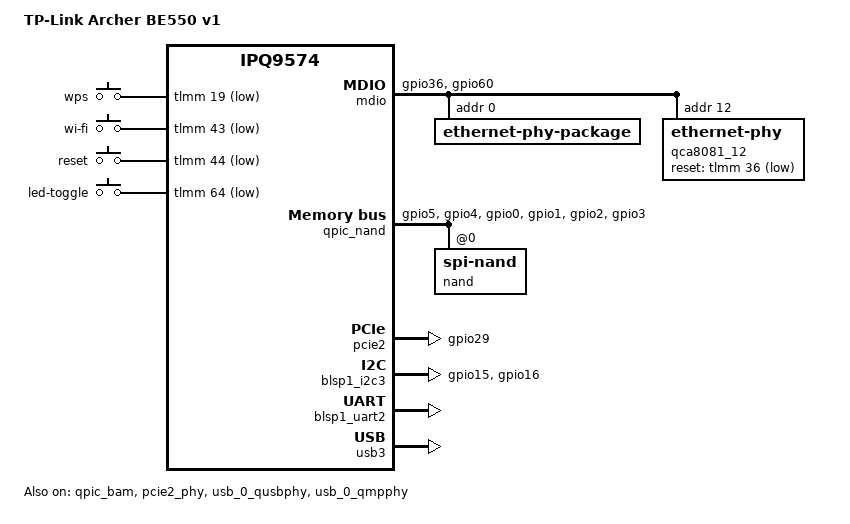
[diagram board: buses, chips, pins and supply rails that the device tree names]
// SPDX-License-Identifier: (GPL-2.0+)
/dts-v1/;

#include "ipq9574.dtsi"

#include <dt-bindings/gpio/gpio.h>
#include <dt-bindings/input/input.h>

/ {
	model = "TP-Link Archer BE550 v1";
	compatible = "tplink,archer-be550-v1", "qcom,ipq9574";

	aliases {
		serial0 = &blsp1_uart2;
	};

	chosen {
		stdout-path = "serial0:115200n8";
	};

	keys {
		compatible = "gpio-keys";
		pinctrl-0 = <&button_pins>;
		pinctrl-names = "default";

		wps {
			label = "wps";
			/* FIXME: when pressed, the GPIO level remains low. Is
			 * there another GPIO involved in the transaction? */
			gpios = <&tlmm 19 GPIO_ACTIVE_LOW>;
			linux,code = <KEY_WPS_BUTTON>;
		};

		wifi {
			label = "wi-fi";
			gpios = <&tlmm 43 GPIO_ACTIVE_LOW>;
			linux,code = <KEY_MACRO1>;
		};

		reset {
			label = "reset";
			gpios = <&tlmm 44 GPIO_ACTIVE_LOW>;
			linux,code = <KEY_RESTART>;
		};

		led-toggle {
			label = "led-toggle";
			gpios = <&tlmm 64 GPIO_ACTIVE_LOW>;
			linux,code = <KEY_LIGHTS_TOGGLE>;
		};
	};
};

&mdio {
	pinctrl-0 = <&mdio_pins>, <&phy_reset_pins>;
	pinctrl-names = "default";
	status = "okay";

	ethernet-phy-package@0 {
		#address-cells = <1>;
		#size-cells = <0>;
		reg = <0>;

		qcom,package-mode = "qusgmii";

		qca8084_0: ethernet-phy@0 {
			reg = <1>;
		};
		qca8084_1: ethernet-phy@1 {
			reg = <2>;
		};
		qca8084_2: ethernet-phy@2 {
			reg = <3>;
		};
		qca8084_3: ethernet-phy@3 {
			reg = <4>;
		};
	};

	qca8081_12: ethernet-phy@12 {
		reset-gpios = <&tlmm 36 GPIO_ACTIVE_LOW>;
		reg = <12>;
	};
};

&tlmm {

	button_pins: button-pins {
		pins = "gpio19", "gpio43", "gpio44", "gpio64";
		function = "gpio";
		input;
		bias-pull-up;
	};

	i2c3_pins: i2c3-pins {
		pins = "gpio15", "gpio16";
		function = "blsp3_i2c";
		drive-strength = <8>;
		bias-disable;
	};

	pcie2_pins: pcie2-pins {
		perst-n-pin {
			pins = "gpio29";
			function = "gpio";
			drive-strength = <8>;
			bias-disable;
			output-low;
		};
	};

	qspi_nand_pins: qspi_nand_pins {
		qspi_clock {
			pins = "gpio5";
			function = "qspi_clk";
			drive-strength = <8>;
			bias-disable;
		};

		qspi_cs {
			pins = "gpio4";
			function = "qspi_cs";
			drive-strength = <8>;
			bias-disable;
		};

		qspi_data {
			pins = "gpio0", "gpio1", "gpio2", "gpio3";
			function = "qspi_data";
			drive-strength = <8>;
			bias-disable;
		};
	};

	phy_reset_pins: phy-reset-pins {
		pins = "gpio36", "gpio60";
		function = "gpio";
		drive-strength = <2>;
		bias-disable;
	};
};

&qpic_bam {
	status = "okay";
};

&qpic_nand {
	pinctrl-0 = <&qspi_nand_pins>;
	pinctrl-names = "default";
	status = "okay";

	nand@0 {
		compatible = "spi-nand";
		reg = <0>;
		#address-cells = <1>;
		#size-cells = <1>;
		nand-ecc-engine = <&qpic_nand>;
		nand-ecc-strength = <4>;
		nand-ecc-step-size = <512>;

		partitions {
			compatible = "qcom,smem-part";
		};
	};
};

&rpm_requests {
	regulators {
		compatible = "qcom,rpm-mp5496-regulators";

		ipq9574_s1: s1 {
			regulator-min-microvolt = <725000>;
			regulator-max-microvolt = <1075000>;
		};
	};
};

&pcie2_phy {
	status = "okay";
};

&pcie2 {
	pinctrl-0 = <&pcie2_pins>;
	pinctrl-names = "default";
	perst-gpios = <&tlmm 29 GPIO_ACTIVE_LOW>;
	status = "okay";
};

&blsp1_i2c3 {
	pinctrl-0 = <&i2c3_pins>;
	pinctrl-names = "default";
	status = "okay";
};

&blsp1_uart2 {
	pinctrl-0 = <&uart2_pins>;
	pinctrl-names = "default";
	status = "okay";
};

&usb_0_qusbphy {
	status = "okay";
};

&usb_0_qmpphy{
	status = "okay";
};

&usb3 {
	status = "okay";
};

&sleep_clk {
	clock-frequency = <32000>;
};

/*
 * The clock tree follows:
 *     xo_clk ->  ref_48mhz_clk -> xo_board_clk
 *
 * I have no ides what the original oscillator frequency is, but however we
 * xo_clk and the multipliers, ref_48mhz_clk shoudl be 48 MHz.
 */
&xo_clk {
	// clock-frequency = <48000000>;
	clock-frequency = <24000000>;
};

&ref_48mhz_clk {
	clock-div = <1>;
	clock-mult = <2>;
};

&xo_board_clk {
	clock-div = <2>;
	clock-mult = <1>;
};
